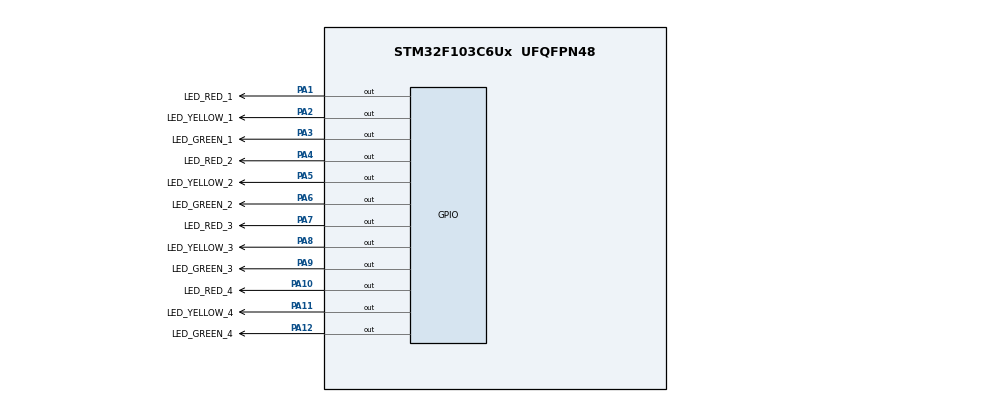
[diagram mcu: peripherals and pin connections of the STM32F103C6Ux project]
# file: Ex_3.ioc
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Mcu.Family=STM32F1
Mcu.Name=STM32F103C6Ux
Mcu.Package=UFQFPN48
NVIC.PriorityGroup=NVIC_PRIORITYGROUP_4
PA1.GPIO_Label=LED_RED_1
PA1.Signal=GPIO_Output
PA10.GPIO_Label=LED_RED_4
PA10.Signal=GPIO_Output
PA11.GPIO_Label=LED_YELLOW_4
PA11.Signal=GPIO_Output
PA12.GPIO_Label=LED_GREEN_4
PA12.Signal=GPIO_Output
PA2.GPIO_Label=LED_YELLOW_1
PA2.Signal=GPIO_Output
PA3.GPIO_Label=LED_GREEN_1
PA3.Signal=GPIO_Output
PA4.GPIO_Label=LED_RED_2
PA4.Signal=GPIO_Output
PA5.GPIO_Label=LED_YELLOW_2
PA5.Signal=GPIO_Output
PA6.GPIO_Label=LED_GREEN_2
PA6.Signal=GPIO_Output
PA7.GPIO_Label=LED_RED_3
PA7.Signal=GPIO_Output
PA8.GPIO_Label=LED_YELLOW_3
PA8.Signal=GPIO_Output
PA9.GPIO_Label=LED_GREEN_3
PA9.Signal=GPIO_Output
ProjectManager.HeapSize=0x200
ProjectManager.StackSize=0x400
ProjectManager.TargetToolchain=STM32CubeIDE
RCC.APB1Freq_Value=8000000
RCC.APB2Freq_Value=8000000
VP_SYS_VS_ND.Mode=No_Debug
board=custom

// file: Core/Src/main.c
/* USER CODE BEGIN Header */
/**
  ******************************************************************************
  * @file           : main.c
  * @brief          : Main program body
  ******************************************************************************
  * @attention
  *
  * <h2><center>&copy; Copyright (c) 2023 STMicroelectronics.
  * All rights reserved.</center></h2>
  *
  * This software component is licensed by ST under BSD 3-Clause license,
  * the "License"; You may not use this file except in compliance with the
  * License. You may obtain a copy of the License at:
  *                        opensource.org/licenses/BSD-3-Clause
  *
  ******************************************************************************
  */
/* USER CODE END Header */
#include "main.h"

void SystemClock_Config(void);
static void MX_GPIO_Init(void);
/* USER CODE BEGIN PFP */
void led_on(int pin);
void led_off(int pin);
/* USER CODE END PFP */

int main(void)
{

  /* MCU Configuration--------------------------------------------------------*/

  /* Reset of all peripherals, Initializes the Flash interface and the Systick. */
  HAL_Init();

  /* Configure the system clock */
  SystemClock_Config();

  /* Initialize all configured peripherals */
  MX_GPIO_Init();

  /* Infinite loop */
  /* USER CODE BEGIN WHILE */
    int count1 = 0;
    int count2 = 0;
    int status1 = 0;
    int status2 = 2;
    while (1)
    {
  	  /* USER CODE END WHILE */
    	  if (count1 == 0)
    	  	  {
    		  	  if (status1 == 0)
    		  	  {
    		  		  led_on(1);
    		  		  led_off(2);
    		  		  led_off(3);
    		  		  led_on(7);
    		  		  led_off(8);
    		  		  led_off(9);
    		  		  status1 = 2;
    		  		  count1 = 5;
    		  	  }
    		  	  else if(status1 == 1)
    		  	  {

    		  		  led_off(1);
    		  		  led_on(2);
    		  		  led_off(3);
    		  		  led_off(7);
    		  		  led_on(8);
    		  		  led_off(9);
    		  		  status1 = 0;
    		  		  count1 = 2;
    		  	  }
    		  	  else if(status1 == 2)
    		  	  {

    		  		  led_off(1);
    		  		  led_off(2);
    		  		  led_on(3);
    		  		  led_off(7);
    		  		  led_off(8);
    		  		  led_on(9);
    		  		  status1 = 1;
    		  		  count1 = 3;
    		  	  }
    	  	  }
    	  if(count2 == 0)
    	  {
    		  	  if(status2 == 0)
    		  	  {
    		  		  led_on(4);
    		  		  led_off(5);
    		  		  led_off(6);
    		  		  led_on(10);
    		  		  led_off(11);
    		  		  led_off(12);
    		  		  status2 = 2;
    		  		  count2 = 5;
    		  	  }
    		  	  else if(status2 == 1)
    		  	  {
    		  		  led_off(4);
    		  		  led_on(5);
    		  		  led_off(6);
    		  		  led_off(10);
    		  		  led_on(11);
    		  		  led_off(12);
    		  		  status2 = 0;
    		  		  count2 = 2;
    		  	  }
    		  	  else if(status2 == 2)
    		  	  {
    		  		  led_off(4);
    		  		  led_off(5);
    		  		  led_on(6);
    		  		  led_off(10);
    		  		  led_off(11);
    		  		  led_on(12);
    		  		  status2 = 1;
    		  		  count2 = 3;
    		  	  }
    	  }
    	  count1--;
    	  count2--;
    	  HAL_Delay(1000);
    }
}

void SystemClock_Config(void)
{
  RCC_OscInitTypeDef RCC_OscInitStruct = {0};
  RCC_ClkInitTypeDef RCC_ClkInitStruct = {0};

  /** Initializes the RCC Oscillators according to the specified parameters
  * in the RCC_OscInitTypeDef structure.
  */
  RCC_OscInitStruct.OscillatorType = RCC_OSCILLATORTYPE_HSI;
  RCC_OscInitStruct.HSIState = RCC_HSI_ON;
  RCC_OscInitStruct.HSICalibrationValue = RCC_HSICALIBRATION_DEFAULT;
  RCC_OscInitStruct.PLL.PLLState = RCC_PLL_NONE;
  if (HAL_RCC_OscConfig(&RCC_OscInitStruct) != HAL_OK)
  {
    Error_Handler();
  }
  /** Initializes the CPU, AHB and APB buses clocks
  */
  RCC_ClkInitStruct.ClockType = RCC_CLOCKTYPE_HCLK|RCC_CLOCKTYPE_SYSCLK
                              |RCC_CLOCKTYPE_PCLK1|RCC_CLOCKTYPE_PCLK2;
  RCC_ClkInitStruct.SYSCLKSource = RCC_SYSCLKSOURCE_HSI;
  RCC_ClkInitStruct.AHBCLKDivider = RCC_SYSCLK_DIV1;
  RCC_ClkInitStruct.APB1CLKDivider = RCC_HCLK_DIV1;
  RCC_ClkInitStruct.APB2CLKDivider = RCC_HCLK_DIV1;

  if (HAL_RCC_ClockConfig(&RCC_ClkInitStruct, FLASH_LATENCY_0) != HAL_OK)
  {
    Error_Handler();
  }
}

static void MX_GPIO_Init(void)
{
  GPIO_InitTypeDef GPIO_InitStruct = {0};

  /* GPIO Ports Clock Enable */
  __HAL_RCC_GPIOA_CLK_ENABLE();

  /*Configure GPIO pin Output Level */
  HAL_GPIO_WritePin(GPIOA, LED_RED_1_Pin|LED_YELLOW_1_Pin|LED_GREEN_1_Pin|LED_RED_2_Pin
                          |LED_YELLOW_2_Pin|LED_GREEN_2_Pin|LED_RED_3_Pin|LED_YELLOW_3_Pin
                          |LED_GREEN_3_Pin|LED_RED_4_Pin|LED_YELLOW_4_Pin|LED_GREEN_4_Pin, GPIO_PIN_RESET);

  /*Configure GPIO pins : LED_RED_1_Pin LED_YELLOW_1_Pin LED_GREEN_1_Pin LED_RED_2_Pin
                           LED_YELLOW_2_Pin LED_GREEN_2_Pin LED_RED_3_Pin LED_YELLOW_3_Pin
                           LED_GREEN_3_Pin LED_RED_4_Pin LED_YELLOW_4_Pin LED_GREEN_4_Pin */
  GPIO_InitStruct.Pin = LED_RED_1_Pin|LED_YELLOW_1_Pin|LED_GREEN_1_Pin|LED_RED_2_Pin
                          |LED_YELLOW_2_Pin|LED_GREEN_2_Pin|LED_RED_3_Pin|LED_YELLOW_3_Pin
                          |LED_GREEN_3_Pin|LED_RED_4_Pin|LED_YELLOW_4_Pin|LED_GREEN_4_Pin;
  GPIO_InitStruct.Mode = GPIO_MODE_OUTPUT_PP;
  GPIO_InitStruct.Pull = GPIO_NOPULL;
  GPIO_InitStruct.Speed = GPIO_SPEED_FREQ_LOW;
  HAL_GPIO_Init(GPIOA, &GPIO_InitStruct);

}

/* USER CODE BEGIN 4 */
void led_on(int pin)
{
	if (pin == 1) HAL_GPIO_WritePin(GPIOA, GPIO_PIN_1, 0);
    else if (pin == 2) HAL_GPIO_WritePin(GPIOA, GPIO_PIN_2, 0);
    else if (pin == 3) HAL_GPIO_WritePin(GPIOA, GPIO_PIN_3, 0);
    else if (pin == 4) HAL_GPIO_WritePin(GPIOA, GPIO_PIN_4, 0);
    else if (pin == 5) HAL_GPIO_WritePin(GPIOA, GPIO_PIN_5, 0);
    else if (pin == 6) HAL_GPIO_WritePin(GPIOA, GPIO_PIN_6, 0);
    else if (pin == 7) HAL_GPIO_WritePin(GPIOA, GPIO_PIN_7, 0);
    else if (pin == 8) HAL_GPIO_WritePin(GPIOA, GPIO_PIN_8, 0);
    else if (pin == 9) HAL_GPIO_WritePin(GPIOA, GPIO_PIN_9, 0);
    else if (pin == 10) HAL_GPIO_WritePin(GPIOA, GPIO_PIN_10, 0);
    else if (pin == 11) HAL_GPIO_WritePin(GPIOA, GPIO_PIN_11, 0);
    else if (pin == 12) HAL_GPIO_WritePin(GPIOA, GPIO_PIN_12, 0);
}
void led_off(int pin)
{
	if (pin == 1) HAL_GPIO_WritePin(GPIOA, GPIO_PIN_1, 1);
	else if (pin == 2) HAL_GPIO_WritePin(GPIOA, GPIO_PIN_2, 1);
	else if (pin == 3) HAL_GPIO_WritePin(GPIOA, GPIO_PIN_3, 1);
	else if (pin == 4) HAL_GPIO_WritePin(GPIOA, GPIO_PIN_4, 1);
	else if (pin == 5) HAL_GPIO_WritePin(GPIOA, GPIO_PIN_5, 1);
	else if (pin == 6) HAL_GPIO_WritePin(GPIOA, GPIO_PIN_6, 1);
	else if (pin == 7) HAL_GPIO_WritePin(GPIOA, GPIO_PIN_7, 1);
	else if (pin == 8) HAL_GPIO_WritePin(GPIOA, GPIO_PIN_8, 1);
	else if (pin == 9) HAL_GPIO_WritePin(GPIOA, GPIO_PIN_9, 1);
	else if (pin == 10) HAL_GPIO_WritePin(GPIOA, GPIO_PIN_10, 1);
	else if (pin == 11) HAL_GPIO_WritePin(GPIOA, GPIO_PIN_11, 1);
	else if (pin == 12) HAL_GPIO_WritePin(GPIOA, GPIO_PIN_12, 1);
}
/* USER CODE END 4 */

void Error_Handler(void)
{
  __disable_irq();
  while (1)
  {
  }
}

/************************ (C) COPYRIGHT STMicroelectronics *****END OF FILE****/
